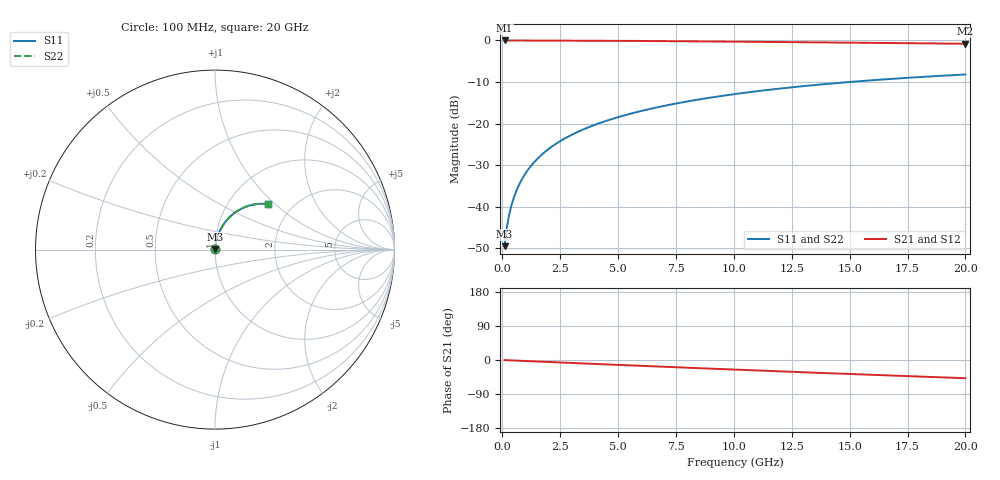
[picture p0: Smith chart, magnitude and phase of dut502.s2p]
! Touchstone file exported from HFSS 2026.1.0
!  File:  C:/ffzhzh/LocalFiles/Ansys_Project_Files/temp_train_TMRDL_502_1783006766_53980.aedt
!  Generated:  11:41:03 PM Jul  2, 2026
!  Design:  TMRDL
!  Project:  temp_train_TMRDL_502_1783006766_53980
! Variables:
!  h_bsmrdl = 2um
!  h_ox = 20um
!  h_rdl = 5um
!  h_sub = 80um
!  h_tmrdl = 5.51um
!  h_tsv = 80um
!  h_via = 3um
!  l_bsmrdl = 300um
!  l_sub = 1139.19um
!  l_tmrdl = 739.19um
!  m_sub = 200um
!  pitch = 55.59um
!  r_tsv = 6um
!  s_tmrdl = 10um
!  w_bsmrdl = 18um
!  w_sub = 500um
!  w_tmrdl = 26.96um
!  x_tsv_center1 = 752.67um
!  x_tsv_center2 = 1070.67um
!  x_tsv_center3 = 1836.82um
!  x_tsv_center4 = 2154.82um
!  x_tsv_center5 = 2920.97um
!  x_tsv_center6 = 3238.97um
# GHz S MA R 50.000000
! Terminal data exported
! Port[1] = TM_RDL1_1_T1
! Port[2] = TM_RDL1_1_T2
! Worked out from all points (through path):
!   200 points, 100 MHz to 20 GHz, reference 50 ohm
!   highest |S21| = -0.02 dB at 100 MHz (marker M1); lowest = -0.8 dB at 20 GHz (marker M2)
!   group delay of S21, straight-line fit = 6.67 ps
!   lowest |S11| = -49.5 dB at 100 MHz (marker M3), VSWR 1.01, Z = 50.2 + j0.271 ohm
!   |S11| at or under -10 dB: start of sweep to 15.01 GHz
!   |S22| runs from -49.5 to -8.2 dB; largest |S21 - S12| = 1.2e-14
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0.1  0.003355 53.7  0.998 -0.3  0.998 -0.3  0.003355 53.7
! Gamma 0 0 0 0
! Port Impedance 50 0 50 0
0.2  0.005699 67.3  0.9978 -0.5  0.9978 -0.5  0.005699 67.3
0.3  0.008086 72.8  0.9977 -0.8  0.9977 -0.8  0.008086 72.8
0.4  0.01049 75.9  0.9976 -1.1  0.9976 -1.1  0.01049 75.9
0.5  0.0129 77.8  0.9975 -1.3  0.9975 -1.3  0.0129 77.8
0.7  0.01777 79.9  0.9973 -1.9  0.9973 -1.9  0.01777 79.9
0.8  0.02021 80.5  0.9972 -2.1  0.9972 -2.1  0.02021 80.5
1  0.02511 81.2  0.997 -2.6  0.997 -2.6  0.02511 81.2
1.2  0.03 81.4  0.9968 -3.2  0.9968 -3.2  0.03 81.4
1.4  0.03489 81.5  0.9965 -3.7  0.9965 -3.7  0.03489 81.5
1.7  0.0422 81.2  0.996 -4.5  0.996 -4.5  0.0422 81.2
2  0.04946 80.8  0.9954 -5.3  0.9954 -5.3  0.04946 80.8
2.7  0.06621 79.5  0.9938 -7.1  0.9938 -7.1  0.06621 79.5
3.5  0.08501 77.7  0.9917 -9.1  0.9917 -9.1  0.08501 77.7
4.2  0.1012 76.1  0.9896 -10.9  0.9896 -10.9  0.1012 76.1
5  0.1193 74.3  0.9871 -12.9  0.9871 -12.9  0.1193 74.3
6.8  0.1591 70.1  0.9804 -17.4  0.9804 -17.4  0.159 70.1
8.3  0.1909 66.6  0.9741 -21.1  0.9741 -21.1  0.1909 66.6
10.1  0.2274 62.5  0.9656 -25.5  0.9656 -25.5  0.2274 62.5
13.4  0.2889 54.9  0.9483 -33.3  0.9483 -33.3  0.2889 55.0
16.7  0.3429 47.6  0.9297 -40.8  0.9297 -40.8  0.3429 47.6
20  0.389 40.6  0.9112 -48.0  0.9112 -48.0  0.389 40.6
